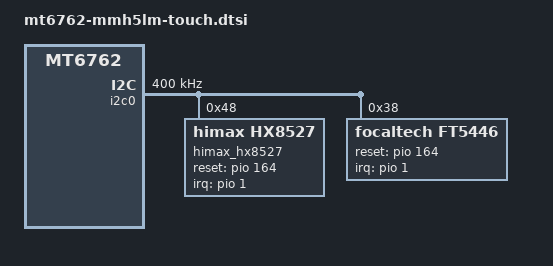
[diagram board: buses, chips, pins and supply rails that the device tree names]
/*
 * Copyright (c) 2016, The Linux Foundation. All rights reserved.
 *
 * This program is free software; you can redistribute it and/or modify
 * it under the terms of the GNU General Public License version 2 and
 * only version 2 as published by the Free Software Foundation.
 *
 * This program is distributed in the hope that it will be useful,
 * but WITHOUT ANY WARRANTY; without even the implied warranty of
 * MERCHANTABILITY or FITNESS FOR A PARTICULAR PURPOSE.  See the
 * GNU General Public License for more details.
 */

&i2c0 {
	clock-frequency = <400000>;
	mediatek,use-open-drain;
	cap_touch@5d {
		status = "disabled";
	};
	himax_hx8527@48 {
		compatible = "himax,hx8527";
		status = "okay";

		reg = <0x48>;
		interrupt-parent = <&pio>;
		/* IRQF_ONESHOT				0x00002000 */
		/* IRQF_TRIGGER_FALLING		0x00000002 */
		/* IRQF_NO_SUSPEND			0x00004000 */

		reset-gpio = <&pio 164 0x00>;
		irq-gpio = <&pio 1 0x2002>;
		irqflags = <0x2002>;
		interrupts = <1 0x2002 1 0>;

		pinctrl-names = "default", "touch_pin_active", "touch_pin_sleep";	/* Touch GPIO pin name setting */
		pinctrl-0 = <&ts_pin_default>;
		pinctrl-1 = <&ts_pin_active>;		/* Touch GPIO pin active setting */
		pinctrl-2 = <&ts_pin_suspend>;		/* Touch GPIO pin suspend setting */

		/* Caps */
		max_x = <720>;
		max_y = <1440>;
		max_pressure = <0xff>;
		max_width = <15>;
		max_orientation = <1>;
		max_id = <10>;
		hw_reset_delay = <20>;

		/* Role */
		use_lpwg = <1>;
		use_lpwg_test = <1>;
		hide_coordinate = <1>;

		/* firmware */
		use_fw_upgrade = <1>;
		use_firmware = <0>;
		fw_image = "touch/mh5lm/himax/HX8527_LGE_MH5_V_00_20_CFG06.bin";
	};


	ft5446@38 {
		compatible = "focaltech,ft5446";
		status = "okay";

		reg = <0x38>;
		interrupt-parent = <&pio>;
		/* IRQF_ONESHOT				0x00002000 */
		/* IRQF_TRIGGER_FALLING		0x00000002 */
		/* IRQF_NO_SUSPEND			0x00004000 */

		reset-gpio = <&pio 164 0x00>;
		irq-gpio = <&pio 1 0x2002>;
		irqflags = <0x2002>;
		interrupts = <1 0x2002 1 0>;

		pinctrl-names = "default", "touch_pin_active", "touch_pin_sleep";	/* Touch GPIO pin name setting */
		pinctrl-0 = <&ts_pin_default>;
		pinctrl-1 = <&ts_pin_active>;		/* Touch GPIO pin active setting */
		pinctrl-2 = <&ts_pin_suspend>;		/* Touch GPIO pin suspend setting */
		/*Caps*/
		max_x = <720>;
		max_y = <1440>;
		max_pressure = <0xff>;
		max_width_major = <15>;
		max_width_minor = <15>;
		max_orientation = <1>;
		max_id = <10>;
		sw_reset_delay = <200>;
		hw_reset_delay = <200>;

		/* Role */
		use_lpwg = <1>;
		use_lpwg_test = <1>;
		hide_coordinate = <1>;


		/* firmware & panel_spec path */
		use_fw_upgrade = <1>;

		fw_image = "touch/mh5lm/focaltech/FT5X46DQS_Pramboot_v0.5_20151012.bin",
			 "touch/mh5lm/focaltech/LGE_MH5_FT5446_Ver0.19_0x13_20190725_all.bin";

		panel_spec = "touch/mh5lm/focaltech/mh5_limit.txt";
		panel_spec_mfts_folder = "touch/mh5lm/focaltech/mh5_limit_mfts.txt";

		/* Performance Test */
		use_perf_test = <1>;
		test_delay = <16>;
		test_pressure = <50>;
		test_width = <100>;
		test_jig_size = <8>;
		click_test_x = <90>;
		click_test_y = <410>;
		v_drag_test_x = <72>;
		v_drag_test_start_y = <971>;
		v_drag_test_end_y = <548>;
		h_drag_test_start_x = <571>;
		h_drag_test_end_x = <148>;
		h_drag_test_y = <1064>;

		/* ft8006m specific */
		focaltech,name = "fts";
		focaltech,family-id = <0x54>;
		focaltech,display-coords = <0 0 480 854>;
		focaltech,panel-coords = <0 0 1080 2000>;
		focaltech,button-map= <70 150 907>;
		focaltech,no-force-update;
		focaltech,i2c-pull-up;
		focaltech,group-id = <1>;
		focaltech,hard-reset-delay-ms = <20>;
		focaltech,soft-reset-delay-ms = <150>;
		focaltech,num-max-touches = <10>;
		focaltech,fw-name = "FT_Upgrade_App.i";
		focaltech,fw-delay-aa-ms = <50>;
		focaltech,fw-delay-55-ms = <30>;
		focaltech,fw-upgrade-id1 = <0x79>;
		focaltech,fw-upgrade-id2 = <0x03>;
		focaltech,fw-delay-readid-ms = <10>;
		focaltech,fw-delay-era-flsh-ms = <2000>;
	};

};


&touch {
	status = "disabled";
};

/* touch gpio start */
&pio {
	ts_pin_default: ts_default {
	};

	ts_pin_active: ts_active {
		pins_cmd0_dat {
			pinmux = <PINMUX_GPIO1__FUNC_GPIO1>;
			slew-rate = <0>;
			bias-pull-up = <00>;
		};
	};

	ts_pin_suspend: ts_suspend {
		pins_cmd0_dat {
			pinmux = <PINMUX_GPIO1__FUNC_GPIO1>;
			slew-rate = <0>;
			bias-pull-up = <00>;
		};
	};
};
/* touch gpio end */
